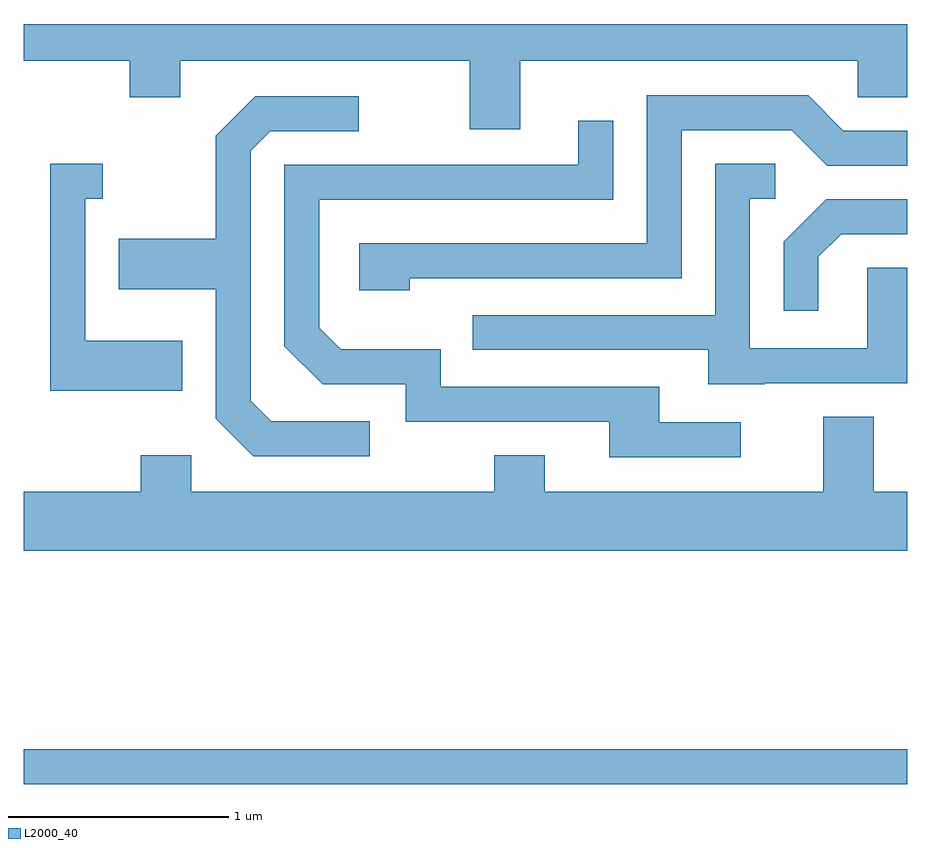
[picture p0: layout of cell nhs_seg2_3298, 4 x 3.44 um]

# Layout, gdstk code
import gdstk
lib = gdstk.Library(unit=1e-6, precision=1e-09)
def R(c, l, rs):  # rectangles x0, y0, x1, y1
    for r in rs: c.add(gdstk.rectangle(r[:2], r[2:], *l))
def P(c, l, *ps):  # polygons
    for p in ps: c.add(gdstk.Polygon(p, *l))
L2000_40 = (2000, 40)

nhs_seg2_3298 = lib.new_cell('nhs_seg2_3298')
R(nhs_seg2_3298, L2000_40, [(281.611,1058.361,285.611,1058.519)])
P(nhs_seg2_3298, L2000_40, [(283.859,1061.636),(285.386,1061.636),(285.386,1061.471),(285.611,1061.471),(285.611,1061.802),(281.611,1061.802),(281.611,1061.636),(282.091,1061.636),(282.091,1061.471),(282.319,1061.471),(282.319,1061.636),(283.631,1061.636),(283.631,1061.326),(283.859,1061.326)],
  [(283.359,1060.651),(284.589,1060.651),(284.589,1061.321),(285.089,1061.321),(285.249,1061.161),(285.611,1061.161),(285.611,1061.319),(285.322,1061.319),(285.162,1061.479),(284.431,1061.479),(284.431,1060.809),(283.131,1060.809),(283.131,1060.596),(283.359,1060.596)],
  [(283.178,1060.004),(282.732,1060.004),(282.639,1060.097),(282.639,1061.229),(282.727,1061.316),(283.128,1061.316),(283.128,1061.474),(282.659,1061.474),(282.481,1061.297),(282.481,1060.829),(282.041,1060.829),(282.041,1060.601),(282.481,1060.601),(282.481,1060.014),(282.649,1059.846),(283.178,1059.846)],
  [(284.858,1059.999),(284.489,1059.999),(284.489,1060.159),(283.499,1060.159),(283.499,1060.329),(283.047,1060.329),(282.949,1060.427),(282.949,1061.006),(284.279,1061.006),(284.279,1061.363),(284.121,1061.363),(284.121,1061.164),(282.791,1061.164),(282.791,1060.344),(282.964,1060.171),(283.341,1060.171),(283.341,1060.001),(284.261,1060.001),(284.261,1059.841),(284.858,1059.841)],
  [(284.965,1060.176),(285.611,1060.176),(285.611,1060.699),(285.431,1060.699),(285.431,1060.334),(284.899,1060.334),(284.899,1061.011),(285.013,1061.011),(285.013,1061.169),(284.741,1061.169),(284.741,1060.484),(283.643,1060.484),(283.643,1060.326),(284.711,1060.326),(284.711,1060.171),(284.965,1060.171)],
  [(282.329,1060.369),(281.889,1060.369),(281.889,1061.011),(281.968,1061.011),(281.968,1061.169),(281.731,1061.169),(281.731,1060.141),(282.329,1060.141)],
  [(285.209,1060.749),(285.312,1060.851),(285.611,1060.851),(285.611,1061.009),(285.244,1061.009),(285.051,1060.817),(285.051,1060.503),(285.209,1060.503)],
  [(285.611,1059.684),(285.459,1059.684),(285.459,1060.024),(285.231,1060.024),(285.231,1059.684),(283.969,1059.684),(283.969,1059.849),(283.741,1059.849),(283.741,1059.684),(282.369,1059.684),(282.369,1059.849),(282.141,1059.849),(282.141,1059.684),(281.611,1059.684),(281.611,1059.416),(285.611,1059.416)])

lib.write_gds('nhs_seg2_3298.gds')
